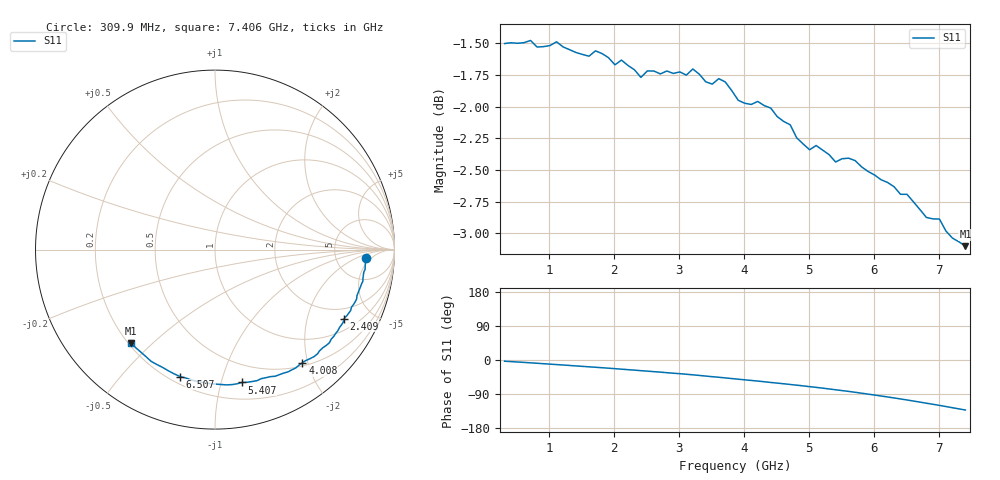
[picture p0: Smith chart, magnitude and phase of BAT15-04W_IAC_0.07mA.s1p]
! Infineon Technologies  Discrete & RF Semiconductors
! BAT15-04W-E6327
! IAC = 0.07 mA
! One-Port S-Parameters
# Hz  S  MA  R  50
!f  S11
!Hz  Mag  Ang
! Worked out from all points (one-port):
!   72 points, 309.9 MHz to 7.406 GHz, reference 50 ohm
!   lowest |S11| = -3.1 dB at 7.406 GHz (marker M1), VSWR 5.66, Z = 10.5 - j21.5 ohm
!   |S11| at or under -10 dB: nowhere
!   S11 on the Smith chart (normalised r, x): 309.9 MHz: 11, -3; 2.409 GHz: 1.47, -3.39; 4.008 GHz: 0.55, -1.91; 5.407 GHz: 0.34, -1.16; 6.507 GHz: 0.24, -0.73; 7.406 GHz: 0.21, -0.43
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3.0985e8  0.8411 -3.2
7.0965e8  0.8435 -7.5
1.10945e9  0.8424 -12.1
1.2094e9  0.8386 -13.2
1.6092e9  0.8315 -18.0
1.70915e9  0.8356 -19.2
2.009e9  0.825 -22.9
2.10895e9  0.8286 -24.2
2.4088e9  0.8157 -28.2
2.50875e9  0.8205 -29.3
3.0085e9  0.8197 -36.1
3.2084e9  0.8219 -39.1
3.50825e9  0.8107 -44.0
3.6082e9  0.8147 -45.5
3.90805e9  0.7989 -50.6
4.008e9  0.7967 -52.3
4.2079e9  0.7981 -55.7
4.4078e9  0.7933 -59.2
4.70765e9  0.7813 -64.5
4.8076e9  0.7722 -66.4
5.10745e9  0.7668 -72.2
5.4073e9  0.7554 -78.6
5.70715e9  0.7564 -85.2
6.2069e9  0.7415 -97.5
6.50675e9  0.7336 -105.4
6.6067e9  0.7285 -108.3
7.0065e9  0.7173 -119.7
7.4063e9  0.6998 -131.9
